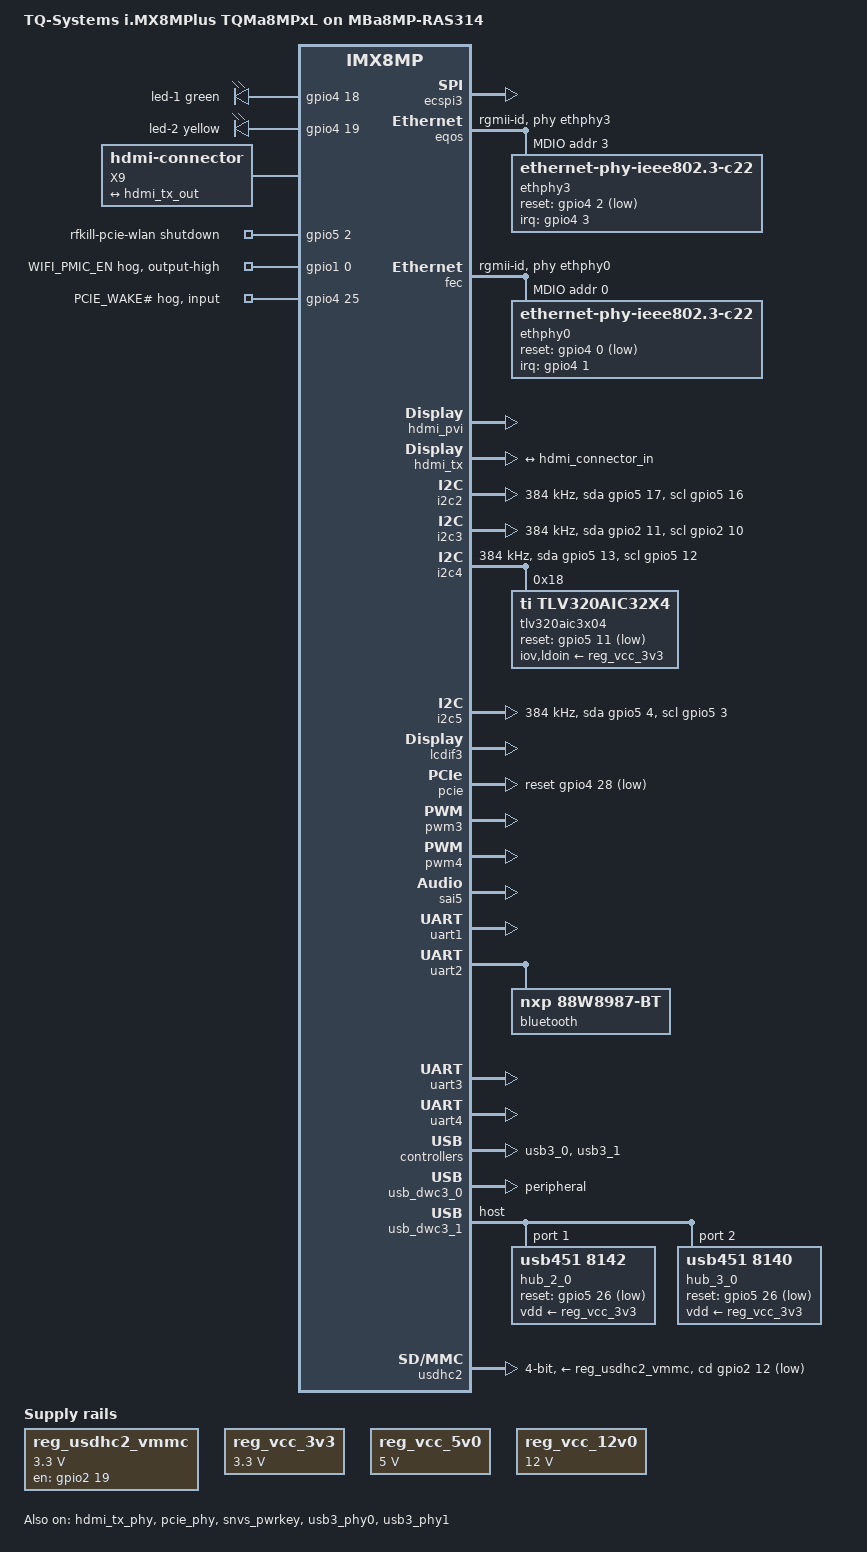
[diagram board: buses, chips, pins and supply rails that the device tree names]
// SPDX-License-Identifier: GPL-2.0-or-later OR MIT
/*
 * Copyright (c) 2023-2024 TQ-Systems GmbH <linux@ew.tq-group.com>,
 * D-82229 Seefeld, Germany.
 * Author: Martin Schmiedel
 * Author: Alexander Stein
 */

/dts-v1/;

#include <dt-bindings/leds/common.h>
#include <dt-bindings/net/ti-dp83867.h>
#include <dt-bindings/phy/phy-imx8-pcie.h>
#include <dt-bindings/pwm/pwm.h>
#include "imx8mp-tqma8mpql.dtsi"

/ {
	model = "TQ-Systems i.MX8MPlus TQMa8MPxL on MBa8MP-RAS314";
	compatible = "tq,imx8mp-tqma8mpql-mba8mp-ras314", "tq,imx8mp-tqma8mpql", "fsl,imx8mp";
	chassis-type = "embedded";

	chosen {
		stdout-path = &uart4;
	};

	aliases {
		mmc0 = &usdhc3;
		mmc1 = &usdhc2;
		mmc2 = &usdhc1;
		rtc0 = &pcf85063;
		rtc1 = &snvs_rtc;
	};

	/* X8 */
	backlight_lvds: backlight {
		compatible = "pwm-backlight";
		pinctrl-names = "default";
		pinctrl-0 = <&pinctrl_backlight>;
		pwms = <&pwm2 0 5000000 0>;
		brightness-levels = <0 4 8 16 32 64 128 255>;
		default-brightness-level = <7>;
		power-supply = <&reg_vcc_12v0>;
		enable-gpios = <&gpio1 3 GPIO_ACTIVE_HIGH>;
		status = "disabled";
	};

	/* X7 + X8 */
	display: display {
		/*
		 * Display is not fixed, so compatible has to be added from
		 * DT overlay
		 */
		pinctrl-names = "default";
		pinctrl-0 = <&pinctrl_lvdsdisplay>;
		power-supply = <&reg_vcc_3v3>;
		enable-gpios = <&gpio1 7 GPIO_ACTIVE_HIGH>;
		backlight = <&backlight_lvds>;
		status = "disabled";
	};

	gpio-leds {
		compatible = "gpio-leds";
		pinctrl-names = "default";
		pinctrl-0 = <&pinctrl_gpioled>;

		led-1 {
			color = <LED_COLOR_ID_GREEN>;
			function = LED_FUNCTION_STATUS;
			function-enumerator = <0>;
			gpios = <&gpio4 18 GPIO_ACTIVE_HIGH>;
		};

		led-2 {
			color = <LED_COLOR_ID_YELLOW>;
			function = LED_FUNCTION_STATUS;
			function-enumerator = <1>;
			gpios = <&gpio4 19 GPIO_ACTIVE_HIGH>;
		};
	};

	hdmi-connector {
		compatible = "hdmi-connector";
		label = "X9";
		type = "a";

		port {
			hdmi_connector_in: endpoint {
				remote-endpoint = <&hdmi_tx_out>;
			};
		};
	};

	reg_usdhc2_vmmc: regulator-usdhc2 {
		compatible = "regulator-fixed";
		pinctrl-names = "default";
		pinctrl-0 = <&pinctrl_reg_usdhc2_vmmc>;
		regulator-name = "VSD_3V3";
		regulator-min-microvolt = <3300000>;
		regulator-max-microvolt = <3300000>;
		gpio = <&gpio2 19 GPIO_ACTIVE_HIGH>;
		enable-active-high;
		startup-delay-us = <100>;
		off-on-delay-us = <12000>;
	};

	reg_vcc_3v3: regulator-3v3 {
		compatible = "regulator-fixed";
		regulator-name = "V_3V3";
		regulator-min-microvolt = <3300000>;
		regulator-max-microvolt = <3300000>;
	};

	reg_vcc_5v0: regulator-5v0 {
		compatible = "regulator-fixed";
		regulator-name = "V_5V0";
		regulator-min-microvolt = <5000000>;
		regulator-max-microvolt = <5000000>;
	};

	reg_vcc_12v0: regulator-12v0 {
		compatible = "regulator-fixed";
		regulator-name = "V_12V";
		regulator-min-microvolt = <12000000>;
		regulator-max-microvolt = <12000000>;
	};

	reserved-memory {
		#address-cells = <2>;
		#size-cells = <2>;
		ranges;

		/* global autoconfigured region for contiguous allocations */
		linux,cma {
			compatible = "shared-dma-pool";
			reusable;
			size = <0 0x38000000>;
			alloc-ranges = <0 0x40000000 0 0xB0000000>;
			linux,cma-default;
		};
	};

	rfkill {
		compatible = "rfkill-gpio";
		pinctrl-names = "default";
		pinctrl-0 = <&pinctrl_rfkill>;
		label = "rfkill-pcie-wlan";
		radio-type = "wlan";
		shutdown-gpios = <&gpio5 2 GPIO_ACTIVE_HIGH>;
	};

	sound {
		compatible = "fsl,imx-audio-tlv320aic32x4";
		model = "tq-mba8mp-ras314";
		audio-cpu = <&sai5>;
		audio-codec = <&tlv320aic3x04>;
		audio-routing =
			"IN3_L", "Mic Jack",
			"Mic Jack", "Mic Bias",
			"Headphone Jack", "HPL",
			"Headphone Jack", "HPR";
	};
};

&ecspi3 {
	pinctrl-names = "default";
	pinctrl-0 = <&pinctrl_ecspi3>;
	cs-gpios = <&gpio5 25 GPIO_ACTIVE_LOW>, <&gpio1 6 GPIO_ACTIVE_LOW>;
	status = "okay";
};

&eqos {
	pinctrl-names = "default";
	pinctrl-0 = <&pinctrl_eqos>;
	phy-mode = "rgmii-id";
	phy-handle = <&ethphy3>;
	status = "okay";

	mdio {
		compatible = "snps,dwmac-mdio";
		#address-cells = <1>;
		#size-cells = <0>;

		ethphy3: ethernet-phy@3 {
			compatible = "ethernet-phy-ieee802.3-c22";
			reg = <3>;
			pinctrl-names = "default";
			pinctrl-0 = <&pinctrl_eqos_phy>;
			reset-gpios = <&gpio4 2 GPIO_ACTIVE_LOW>;
			reset-assert-us = <500000>;
			reset-deassert-us = <50000>;
			enet-phy-lane-no-swap;
			interrupt-parent = <&gpio4>;
			interrupts = <3 IRQ_TYPE_EDGE_FALLING>;
			ti,rx-internal-delay = <DP83867_RGMIIDCTL_2_25_NS>;
			ti,tx-internal-delay = <DP83867_RGMIIDCTL_2_25_NS>;
			ti,fifo-depth = <DP83867_PHYCR_FIFO_DEPTH_4_B_NIB>;
			ti,dp83867-rxctrl-strap-quirk;
			ti,clk-output-sel = <DP83867_CLK_O_SEL_OFF>;
		};
	};
};

&fec {
	pinctrl-names = "default";
	pinctrl-0 = <&pinctrl_fec>;
	phy-mode = "rgmii-id";
	phy-handle = <&ethphy0>;
	fsl,magic-packet;
	status = "okay";

	mdio {
		#address-cells = <1>;
		#size-cells = <0>;

		ethphy0: ethernet-phy@0 {
			compatible = "ethernet-phy-ieee802.3-c22";
			reg = <0>;
			pinctrl-names = "default";
			pinctrl-0 = <&pinctrl_fec_phy>;
			reset-gpios = <&gpio4 0 GPIO_ACTIVE_LOW>;
			reset-assert-us = <500000>;
			reset-deassert-us = <50000>;
			enet-phy-lane-no-swap;
			interrupt-parent = <&gpio4>;
			interrupts = <1 IRQ_TYPE_EDGE_FALLING>;
			ti,rx-internal-delay = <DP83867_RGMIIDCTL_2_25_NS>;
			ti,tx-internal-delay = <DP83867_RGMIIDCTL_2_25_NS>;
			ti,fifo-depth = <DP83867_PHYCR_FIFO_DEPTH_4_B_NIB>;
			ti,dp83867-rxctrl-strap-quirk;
			ti,clk-output-sel = <DP83867_CLK_O_SEL_OFF>;
		};
	};
};

&gpio1 {
	pinctrl-names = "default";
	pinctrl-0 = <&pinctrl_gpio1>;

	gpio-line-names = "WIFI_PMIC_EN", "LVDS_RESET#", "", "",
			  "", "", "GPIO8", "",
			  "", "", "", "",
			  "", "", "GPIO12", "GPIO13",
			  "", "", "", "",
			  "", "", "", "",
			  "", "", "", "",
			  "", "", "", "";

	wifi-pmic-en-hog {
		gpio-hog;
		gpios = <0 0>;
		output-high;
		line-name = "WIFI_PMIC_EN";
	};
};

&gpio2 {
	pinctrl-names = "default";
	pinctrl-0 = <&pinctrl_gpio2>;

	gpio-line-names = "GPIO22", "GPIO23", "GPIO24", "GPIO25",
			  "GPIO26", "GPIO27", "CAM_GPIO1", "CAM_GPIO2",
			  "", "", "GPIO1", "GPIO0",
			  "", "", "", "",
			  "", "", "", "",
			  "", "", "", "",
			  "", "", "", "",
			  "", "", "", "";
};

&gpio3 {
	pinctrl-names = "default";
	pinctrl-0 = <&pinctrl_gpio3>;

	gpio-line-names = "", "", "", "",
			  "", "", "", "",
			  "", "", "", "",
			  "", "", "", "",
			  "", "", "", "",
			  "TEMP_EVENT#", "", "", "",
			  "", "", "", "",
			  "", "", "", "";
};

&gpio4 {
	pinctrl-names = "default";
	pinctrl-0 = <&pinctrl_gpio4>;

	gpio-line-names = "", "", "", "",
			  "", "", "", "",
			  "", "", "", "",
			  "", "", "", "",
			  "", "", "", "",
			  "HDMI_OC#", "GPIO14", "GPIO15", "GPIO16",
			  "GPIO17", "PCIE_WAKE#", "GPIO19", "GPIO20",
			  "PCIE_PERST#", "", "", "";

	pewake-hog {
		gpio-hog;
		gpios = <25 0>;
		input;
		line-name = "PCIE_WAKE#";
	};
};

&gpio5 {
	pinctrl-names = "default";
	pinctrl-0 = <&pinctrl_gpio5>, <&pinctrl_gpt1_gpio>,
		    <&pinctrl_gpt2_gpio>, <&pinctrl_gpt3_gpio>;

	gpio-line-names = "", "GPIO18", "", "GPIO3",
			  "GPIO2", "GPIO21", "", "",
			  "", "", "", "",
			  "", "", "", "",
			  "", "", "GPIO5", "GPIO6",
			  "", "", "GPIO11", "GPIO10",
			  "GPIO9", "GPIO7", "", "GPIO4",
			  "", "", "", "";
};

&gpt1 {
	pinctrl-names = "default";
	pinctrl-0 = <&pinctrl_gpt1>;
	status = "disabled";
};

&gpt2 {
	pinctrl-names = "default";
	pinctrl-0 = <&pinctrl_gpt2>;
	status = "disabled";
};

&gpt3 {
	pinctrl-names = "default";
	pinctrl-0 = <&pinctrl_gpt3>;
	status = "disabled";
};

&hdmi_pvi {
	status = "okay";
};

&hdmi_tx {
	pinctrl-names = "default";
	pinctrl-0 = <&pinctrl_hdmi>;
	status = "okay";

	ports {
		port@1 {
			hdmi_tx_out: endpoint {
				remote-endpoint = <&hdmi_connector_in>;
			};
		};
	};
};

&hdmi_tx_phy {
	status = "okay";
};

/* X5 + X6 Camera & Display interface */
&i2c2 {
	clock-frequency = <384000>;
	pinctrl-names = "default", "gpio";
	pinctrl-0 = <&pinctrl_i2c2>;
	pinctrl-1 = <&pinctrl_i2c2_gpio>;
	scl-gpios = <&gpio5 16 (GPIO_ACTIVE_HIGH | GPIO_OPEN_DRAIN)>;
	sda-gpios = <&gpio5 17 (GPIO_ACTIVE_HIGH | GPIO_OPEN_DRAIN)>;
	status = "okay";
};

/* X1 ID_I2C */
&i2c3 {
	clock-frequency = <384000>;
	pinctrl-names = "default", "gpio";
	pinctrl-0 = <&pinctrl_i2c3>;
	pinctrl-1 = <&pinctrl_i2c3_gpio>;
	scl-gpios = <&gpio2 10 (GPIO_ACTIVE_HIGH | GPIO_OPEN_DRAIN)>;
	sda-gpios = <&gpio2 11 (GPIO_ACTIVE_HIGH | GPIO_OPEN_DRAIN)>;
	status = "okay";
};

&i2c4 {
	clock-frequency = <384000>;
	pinctrl-names = "default", "gpio";
	pinctrl-0 = <&pinctrl_i2c4>;
	pinctrl-1 = <&pinctrl_i2c4_gpio>;
	scl-gpios = <&gpio5 12 (GPIO_ACTIVE_HIGH | GPIO_OPEN_DRAIN)>;
	sda-gpios = <&gpio5 13 (GPIO_ACTIVE_HIGH | GPIO_OPEN_DRAIN)>;
	status = "okay";

	tlv320aic3x04: audio-codec@18 {
		compatible = "ti,tlv320aic32x4";
		pinctrl-names = "default";
		pinctrl-0 = <&pinctrl_tlv320aic3x04>;
		reg = <0x18>;
		clock-names = "mclk";
		clocks = <&audio_blk_ctrl IMX8MP_CLK_AUDIOMIX_SAI5_MCLK1>;
		reset-gpios = <&gpio5 11 GPIO_ACTIVE_LOW>;
		iov-supply = <&reg_vcc_3v3>;
		ldoin-supply = <&reg_vcc_3v3>;
	};
};

/* X1 I2C */
&i2c5 {
	clock-frequency = <384000>;
	pinctrl-names = "default", "gpio";
	pinctrl-0 = <&pinctrl_i2c5>;
	pinctrl-1 = <&pinctrl_i2c5_gpio>;
	scl-gpios = <&gpio5 3 (GPIO_ACTIVE_HIGH | GPIO_OPEN_DRAIN)>;
	sda-gpios = <&gpio5 4 (GPIO_ACTIVE_HIGH | GPIO_OPEN_DRAIN)>;
	status = "okay";
};

/* X1 I2C on GPIO24/GPIO25 */
&i2c6 {
	clock-frequency = <384000>;
	pinctrl-names = "default", "gpio";
	pinctrl-0 = <&pinctrl_i2c6>;
	pinctrl-1 = <&pinctrl_i2c6_gpio>;
	scl-gpios = <&gpio2 2 (GPIO_ACTIVE_HIGH | GPIO_OPEN_DRAIN)>;
	sda-gpios = <&gpio2 3 (GPIO_ACTIVE_HIGH | GPIO_OPEN_DRAIN)>;
	status = "disabled";
};

&lcdif3 {
	status = "okay";
};

&pcf85063 {
	/* RTC_EVENT# is connected on MBa8MP-RAS314 */
	pinctrl-names = "default";
	pinctrl-0 = <&pinctrl_pcf85063>;
	interrupt-parent = <&gpio3>;
	interrupts = <19 IRQ_TYPE_EDGE_FALLING>;
};

&pcie_phy {
	clocks = <&hsio_blk_ctrl>;
	clock-names = "ref";
	fsl,refclk-pad-mode = <IMX8_PCIE_REFCLK_PAD_OUTPUT>;
	status = "okay";
};

&pcie {
	pinctrl-names = "default";
	pinctrl-0 = <&pinctrl_pcie>;
	reset-gpios = <&gpio4 28 GPIO_ACTIVE_LOW>;
	status = "okay";
};

&pwm2 {
	pinctrl-names = "default";
	pinctrl-0 = <&pinctrl_pwm2>;
	status = "disabled";
};

&pwm3 {
	pinctrl-names = "default";
	pinctrl-0 = <&pinctrl_pwm3>;
	status = "okay";
};

&pwm4 {
	pinctrl-names = "default";
	pinctrl-0 = <&pinctrl_pwm4>;
	status = "okay";
};

&sai5 {
	pinctrl-names = "default";
	pinctrl-0 = <&pinctrl_sai5>;
	assigned-clocks = <&clk IMX8MP_CLK_SAI5>;
	assigned-clock-parents = <&clk IMX8MP_AUDIO_PLL1_OUT>;
	assigned-clock-rates = <12288000>;
	fsl,sai-mclk-direction-output;
	status = "okay";
};

&snvs_pwrkey {
	status = "okay";
};

/* X1 UART1 */
&uart1 {
	pinctrl-names = "default";
	pinctrl-0 = <&pinctrl_uart1>;
	uart-has-rtscts;
	assigned-clocks = <&clk IMX8MP_CLK_UART1>;
	assigned-clock-parents = <&clk IMX8MP_SYS_PLL1_80M>;
	status = "okay";
};

&uart2 {
	pinctrl-names = "default";
	pinctrl-0 = <&pinctrl_uart2>;
	uart-has-rtscts;
	assigned-clocks = <&clk IMX8MP_CLK_UART2>;
	assigned-clock-parents = <&clk IMX8MP_SYS_PLL1_80M>;
	status = "okay";

	bluetooth {
		compatible = "nxp,88w8987-bt";
	};
};

&uart3 {
	pinctrl-names = "default";
	pinctrl-0 = <&pinctrl_uart3>;
	assigned-clocks = <&clk IMX8MP_CLK_UART3>;
	assigned-clock-parents = <&clk IMX8MP_SYS_PLL1_80M>;
	status = "okay";
};

&uart4 {
	/* console */
	pinctrl-names = "default";
	pinctrl-0 = <&pinctrl_uart4>;
	status = "okay";
};

&usb3_0 {
	fsl,disable-port-power-control;
	status = "okay";
};

&usb3_1 {
	fsl,disable-port-power-control;
	fsl,permanently-attached;
	status = "okay";
};

&usb3_phy0 {
	vbus-supply = <&reg_vcc_5v0>;
	status = "okay";
};

&usb3_phy1 {
	vbus-supply = <&reg_vcc_5v0>;
	status = "okay";
};

&usb_dwc3_0 {
	dr_mode = "peripheral";
	status = "okay";
};

&usb_dwc3_1 {
	dr_mode = "host";
	#address-cells = <1>;
	#size-cells = <0>;
	pinctrl-names = "default";
	pinctrl-0 = <&pinctrl_usbhub>;
	status = "okay";

	hub_2_0: hub@1 {
		compatible = "usb451,8142";
		reg = <1>;
		peer-hub = <&hub_3_0>;
		reset-gpios = <&gpio5 26 GPIO_ACTIVE_LOW>;
		vdd-supply = <&reg_vcc_3v3>;
	};

	hub_3_0: hub@2 {
		compatible = "usb451,8140";
		reg = <2>;
		peer-hub = <&hub_2_0>;
		reset-gpios = <&gpio5 26 GPIO_ACTIVE_LOW>;
		vdd-supply = <&reg_vcc_3v3>;
	};
};

/* X1 SD card on GPIO22-GPIO27 */
&usdhc1 {
	pinctrl-names = "default";
	pinctrl-0 = <&pinctrl_usdhc1>;
	disable-wp;
	bus-width = <4>;
	status = "disabled";
};

&usdhc2 {
	pinctrl-names = "default", "state_100mhz", "state_200mhz";
	pinctrl-0 = <&pinctrl_usdhc2>, <&pinctrl_usdhc2_gpio>;
	pinctrl-1 = <&pinctrl_usdhc2_100mhz>, <&pinctrl_usdhc2_gpio>;
	pinctrl-2 = <&pinctrl_usdhc2_200mhz>, <&pinctrl_usdhc2_gpio>;
	cd-gpios = <&gpio2 12 GPIO_ACTIVE_LOW>;
	vmmc-supply = <&reg_usdhc2_vmmc>;
	no-mmc;
	no-sdio;
	disable-wp;
	bus-width = <4>;
	status = "okay";
};

&iomuxc {
	pinctrl_backlight: backlightgrp {
		fsl,pins = <MX8MP_IOMUXC_GPIO1_IO03__GPIO1_IO03		0x14>;
	};

	pinctrl_ecspi3: ecspi3grp {
		fsl,pins = <MX8MP_IOMUXC_UART1_RXD__ECSPI3_SCLK		0x140>,
			   <MX8MP_IOMUXC_UART1_TXD__ECSPI3_MOSI		0x140>,
			   <MX8MP_IOMUXC_UART2_RXD__ECSPI3_MISO		0x1c0>,
			   <MX8MP_IOMUXC_UART2_TXD__GPIO5_IO25		0x140>,
			   <MX8MP_IOMUXC_GPIO1_IO06__GPIO1_IO06		0x140>;
	};

	pinctrl_ecspi3_gpio: ecspi3gpiogrp {
		fsl,pins = <MX8MP_IOMUXC_UART1_RXD__GPIO5_IO22		0x80>,
			   <MX8MP_IOMUXC_UART1_TXD__GPIO5_IO23		0x80>,
			   <MX8MP_IOMUXC_UART2_RXD__GPIO5_IO24		0x80>,
			   <MX8MP_IOMUXC_UART2_TXD__GPIO5_IO25		0x80>,
			   <MX8MP_IOMUXC_GPIO1_IO06__GPIO1_IO06		0x80>;
	};

	pinctrl_eqos: eqosgrp {
		fsl,pins = <MX8MP_IOMUXC_ENET_MDC__ENET_QOS_MDC				0x40000044>,
			   <MX8MP_IOMUXC_ENET_MDIO__ENET_QOS_MDIO			0x40000044>,
			   <MX8MP_IOMUXC_ENET_RD0__ENET_QOS_RGMII_RD0			0x90>,
			   <MX8MP_IOMUXC_ENET_RD1__ENET_QOS_RGMII_RD1			0x90>,
			   <MX8MP_IOMUXC_ENET_RD2__ENET_QOS_RGMII_RD2			0x90>,
			   <MX8MP_IOMUXC_ENET_RD3__ENET_QOS_RGMII_RD3			0x90>,
			   <MX8MP_IOMUXC_ENET_RXC__CCM_ENET_QOS_CLOCK_GENERATE_RX_CLK	0x90>,
			   <MX8MP_IOMUXC_ENET_RX_CTL__ENET_QOS_RGMII_RX_CTL		0x90>,
			   <MX8MP_IOMUXC_ENET_TD0__ENET_QOS_RGMII_TD0			0x12>,
			   <MX8MP_IOMUXC_ENET_TD1__ENET_QOS_RGMII_TD1			0x12>,
			   <MX8MP_IOMUXC_ENET_TD2__ENET_QOS_RGMII_TD2			0x12>,
			   <MX8MP_IOMUXC_ENET_TD3__ENET_QOS_RGMII_TD3			0x12>,
			   <MX8MP_IOMUXC_ENET_TX_CTL__ENET_QOS_RGMII_TX_CTL		0x12>,
			   <MX8MP_IOMUXC_ENET_TXC__CCM_ENET_QOS_CLOCK_GENERATE_TX_CLK	0x14>;
	};

	pinctrl_eqos_phy: eqosphygrp {
		fsl,pins = <MX8MP_IOMUXC_SAI1_RXD0__GPIO4_IO02				0x100>,
			   <MX8MP_IOMUXC_SAI1_RXD1__GPIO4_IO03				0x1c0>;
	};

	pinctrl_fec: fecgrp {
		fsl,pins = <MX8MP_IOMUXC_SAI1_RXD2__ENET1_MDC		0x40000044>,
			   <MX8MP_IOMUXC_SAI1_RXD3__ENET1_MDIO		0x40000044>,
			   <MX8MP_IOMUXC_SAI1_RXD4__ENET1_RGMII_RD0	0x90>,
			   <MX8MP_IOMUXC_SAI1_RXD5__ENET1_RGMII_RD1	0x90>,
			   <MX8MP_IOMUXC_SAI1_RXD6__ENET1_RGMII_RD2	0x90>,
			   <MX8MP_IOMUXC_SAI1_RXD7__ENET1_RGMII_RD3	0x90>,
			   <MX8MP_IOMUXC_SAI1_TXC__ENET1_RGMII_RXC	0x90>,
			   <MX8MP_IOMUXC_SAI1_TXFS__ENET1_RGMII_RX_CTL	0x90>,
			   <MX8MP_IOMUXC_SAI1_TXD0__ENET1_RGMII_TD0	0x12>,
			   <MX8MP_IOMUXC_SAI1_TXD1__ENET1_RGMII_TD1	0x12>,
			   <MX8MP_IOMUXC_SAI1_TXD2__ENET1_RGMII_TD2	0x12>,
			   <MX8MP_IOMUXC_SAI1_TXD3__ENET1_RGMII_TD3	0x12>,
			   <MX8MP_IOMUXC_SAI1_TXD4__ENET1_RGMII_TX_CTL	0x12>,
			   <MX8MP_IOMUXC_SAI1_TXD5__ENET1_RGMII_TXC	0x14>;
	};

	pinctrl_fec_phy: fecphygrp {
		fsl,pins = <MX8MP_IOMUXC_SAI1_RXFS__GPIO4_IO00		0x100>,
			   <MX8MP_IOMUXC_SAI1_RXC__GPIO4_IO01		0x1c0>;
	};

	pinctrl_gpioled: gpioledgrp {
		fsl,pins = <MX8MP_IOMUXC_SAI1_TXD6__GPIO4_IO18		0x14>,
			   <MX8MP_IOMUXC_SAI1_TXD7__GPIO4_IO19		0x14>;
	};

	pinctrl_gpio1: gpio1grp {
		fsl,pins = <MX8MP_IOMUXC_GPIO1_IO00__GPIO1_IO00		0x14>,
			   <MX8MP_IOMUXC_GPIO1_IO01__GPIO1_IO01		0x14>;
	};

	pinctrl_gpio2: gpio2grp {
		fsl,pins = <MX8MP_IOMUXC_SD1_CLK__GPIO2_IO00		0x94>,
			   <MX8MP_IOMUXC_SD1_CMD__GPIO2_IO01		0x94>,
			   <MX8MP_IOMUXC_SD1_DATA0__GPIO2_IO02		0x94>,
			   <MX8MP_IOMUXC_SD1_DATA1__GPIO2_IO03		0x94>,
			   <MX8MP_IOMUXC_SD1_DATA2__GPIO2_IO04		0x94>,
			   <MX8MP_IOMUXC_SD1_DATA3__GPIO2_IO05		0x94>,
			   <MX8MP_IOMUXC_SD1_DATA4__GPIO2_IO06		0x94>,
			   <MX8MP_IOMUXC_SD1_DATA5__GPIO2_IO07		0x94>;
	};

	pinctrl_gpio3: gpio3grp {
		fsl,pins = <MX8MP_IOMUXC_SAI5_RXC__GPIO3_IO20		0x180>;
	};

	pinctrl_gpio4: gpio4grp {
		fsl,pins = <MX8MP_IOMUXC_SAI1_MCLK__GPIO4_IO20		0x80>,
			   /* PCIE_WAKE# */
			   <MX8MP_IOMUXC_SAI2_TXC__GPIO4_IO25		0x180>,
			   <MX8MP_IOMUXC_SAI2_TXD0__GPIO4_IO26		0x94>,
			   <MX8MP_IOMUXC_SAI2_MCLK__GPIO4_IO27		0x94>;
	};

	pinctrl_gpio5: gpio5grp {
		fsl,pins = <MX8MP_IOMUXC_SAI3_TXD__GPIO5_IO01		0x80>,
			   <MX8MP_IOMUXC_SPDIF_EXT_CLK__GPIO5_IO05	0x80>;
	};

	pinctrl_hdmi: hdmigrp {
		fsl,pins = <MX8MP_IOMUXC_HDMI_DDC_SCL__HDMIMIX_HDMI_SCL	0x400001c2>,
			   <MX8MP_IOMUXC_HDMI_DDC_SDA__HDMIMIX_HDMI_SDA	0x400001c2>,
			   <MX8MP_IOMUXC_HDMI_HPD__HDMIMIX_HDMI_HPD	0x40000010>,
			   <MX8MP_IOMUXC_HDMI_CEC__HDMIMIX_HDMI_CEC	0x40000154>;
	};

	pinctrl_gpt1: gpt1grp {
		fsl,pins = <MX8MP_IOMUXC_UART3_TXD__GPT1_CLK		0x14>;
	};

	pinctrl_gpt1_gpio: gpt1gpiogrp {
		fsl,pins = <MX8MP_IOMUXC_UART3_TXD__GPIO5_IO27		0x80>;
	};

	pinctrl_gpt2: gpt2grp {
		fsl,pins = <MX8MP_IOMUXC_I2C3_SCL__GPT2_CLK		0x14>;
	};

	pinctrl_gpt2_gpio: gpt2gpiogrp {
		fsl,pins = <MX8MP_IOMUXC_I2C3_SCL__GPIO5_IO18		0x80>;
	};

	pinctrl_gpt3: gpt3grp {
		fsl,pins = <MX8MP_IOMUXC_I2C3_SDA__GPT3_CLK		0x14>;
	};

	pinctrl_gpt3_gpio: gpt3gpiogrp {
		fsl,pins = <MX8MP_IOMUXC_I2C3_SDA__GPIO5_IO19		0x80>;
	};

	pinctrl_i2c2: i2c2grp {
		fsl,pins = <MX8MP_IOMUXC_I2C2_SCL__I2C2_SCL		0x400001e2>,
			   <MX8MP_IOMUXC_I2C2_SDA__I2C2_SDA		0x400001e2>;
	};

	pinctrl_i2c2_gpio: i2c2-gpiogrp {
		fsl,pins = <MX8MP_IOMUXC_I2C2_SCL__GPIO5_IO16		0x400001e2>,
			   <MX8MP_IOMUXC_I2C2_SDA__GPIO5_IO17		0x400001e2>;
	};

	pinctrl_i2c3: i2c3grp {
		fsl,pins = <MX8MP_IOMUXC_SD1_RESET_B__I2C3_SCL		0x400001e2>,
			   <MX8MP_IOMUXC_SD1_STROBE__I2C3_SDA		0x400001e2>;
	};

	pinctrl_i2c3_gpio: i2c3-gpiogrp {
		fsl,pins = <MX8MP_IOMUXC_SD1_RESET_B__GPIO2_IO10	0x400001e2>,
			   <MX8MP_IOMUXC_SD1_STROBE__GPIO2_IO11		0x400001e2>;
	};

	pinctrl_i2c4: i2c4grp {
		fsl,pins = <MX8MP_IOMUXC_ECSPI2_MISO__I2C4_SCL		0x400001e2>,
			   <MX8MP_IOMUXC_ECSPI2_SS0__I2C4_SDA		0x400001e2>;
	};

	pinctrl_i2c4_gpio: i2c4-gpiogrp {
		fsl,pins = <MX8MP_IOMUXC_ECSPI2_MISO__GPIO5_IO12	0x400001e2>,
			   <MX8MP_IOMUXC_ECSPI2_SS0__GPIO5_IO13		0x400001e2>;
	};

	pinctrl_i2c5: i2c5grp {
		fsl,pins = <MX8MP_IOMUXC_SPDIF_TX__I2C5_SCL		0x400001e2>,
			   <MX8MP_IOMUXC_SPDIF_RX__I2C5_SDA		0x400001e2>;
	};

	pinctrl_i2c5_gpio: i2c5-gpiogrp {
		fsl,pins = <MX8MP_IOMUXC_SPDIF_TX__GPIO5_IO03		0x400001e2>,
			   <MX8MP_IOMUXC_SPDIF_RX__GPIO5_IO04		0x400001e2>;
	};

	pinctrl_i2c6: i2c6grp {
		fsl,pins = <MX8MP_IOMUXC_SD1_DATA0__I2C6_SCL		0x400001e2>,
			   <MX8MP_IOMUXC_SD1_DATA1__I2C6_SDA		0x400001e2>;
	};

	pinctrl_i2c6_gpio: i2c6-gpiogrp {
		fsl,pins = <MX8MP_IOMUXC_SD1_DATA0__GPIO2_IO02		0x400001e2>,
			   <MX8MP_IOMUXC_SD1_DATA1__GPIO2_IO03		0x400001e2>;
	};

	pinctrl_pcf85063: pcf85063grp {
		fsl,pins = <MX8MP_IOMUXC_SAI5_RXFS__GPIO3_IO19		0x80>;
	};

	pinctrl_pcie: pciegrp {
		fsl,pins = <MX8MP_IOMUXC_I2C4_SCL__PCIE_CLKREQ_B	0x60>,
			   <MX8MP_IOMUXC_SAI3_RXFS__GPIO4_IO28		0x94>;
	};

	pinctrl_lvdsdisplay: lvdsdisplaygrp {
		fsl,pins = <MX8MP_IOMUXC_GPIO1_IO07__GPIO1_IO07		0x10>;
	};

	pinctrl_pwm2: pwm2grp {
		fsl,pins = <MX8MP_IOMUXC_GPIO1_IO09__PWM2_OUT		0x14>;
	};

	pinctrl_pwm3: pwm3grp {
		fsl,pins = <MX8MP_IOMUXC_GPIO1_IO14__PWM3_OUT		0x14>;
	};

	pinctrl_pwm3_gpio: pwm3grpiogrp {
		fsl,pins = <MX8MP_IOMUXC_GPIO1_IO14__GPIO1_IO14		0x80>;
	};

	pinctrl_pwm4: pwm4grp {
		fsl,pins = <MX8MP_IOMUXC_GPIO1_IO15__PWM4_OUT		0x14>;
	};

	pinctrl_pwm4_gpio: pwm4grpiogrp {
		fsl,pins = <MX8MP_IOMUXC_GPIO1_IO15__GPIO1_IO15		0x80>;
	};

	pinctrl_rfkill: rfkillgrp {
		fsl,pins = <MX8MP_IOMUXC_SAI3_MCLK__GPIO5_IO02		0x14>;
	};

	pinctrl_sai5: sai5grp {
		fsl,pins = <MX8MP_IOMUXC_SAI5_MCLK__AUDIOMIX_SAI5_MCLK		0x94>,
			   <MX8MP_IOMUXC_SAI5_RXD0__AUDIOMIX_SAI5_RX_DATA00	0x94>,
			   <MX8MP_IOMUXC_SAI5_RXD3__AUDIOMIX_SAI5_TX_DATA00	0x94>,
			   <MX8MP_IOMUXC_SAI5_RXD1__AUDIOMIX_SAI5_TX_SYNC	0x94>,
			   <MX8MP_IOMUXC_SAI5_RXD2__AUDIOMIX_SAI5_TX_BCLK	0x94>;
	};

	pinctrl_tlv320aic3x04: tlv320aic3x04grp {
		fsl,pins = <MX8MP_IOMUXC_ECSPI2_MOSI__GPIO5_IO11		0x180>;
	};

	pinctrl_uart1: uart1grp {
		fsl,pins = <MX8MP_IOMUXC_SAI2_RXFS__UART1_DCE_TX	0x14>,
			   <MX8MP_IOMUXC_SAI2_RXC__UART1_DCE_RX		0x14>,
			   <MX8MP_IOMUXC_SAI2_RXD0__UART1_DTE_CTS	0x14>,
			   <MX8MP_IOMUXC_SAI2_TXFS__UART1_DTE_RTS	0x14>;
	};

	pinctrl_uart1_gpio: uart1gpiogrp {
		fsl,pins = <MX8MP_IOMUXC_SAI2_RXFS__GPIO4_IO21		0x80>,
			   <MX8MP_IOMUXC_SAI2_RXC__GPIO4_IO22		0x80>,
			   <MX8MP_IOMUXC_SAI2_RXD0__GPIO4_IO23		0x80>,
			   <MX8MP_IOMUXC_SAI2_TXFS__GPIO4_IO24		0x80>;
	};

	pinctrl_uart2: uart2grp {
		fsl,pins = <MX8MP_IOMUXC_SAI3_TXC__UART2_DCE_TX		0x14>,
			   <MX8MP_IOMUXC_SAI3_TXFS__UART2_DCE_RX	0x14>,
			   <MX8MP_IOMUXC_SAI3_RXD__UART2_DCE_RTS	0x14>,
			   <MX8MP_IOMUXC_SAI3_RXC__UART2_DCE_CTS	0x14>;
	};

	pinctrl_uart3: uart3grp {
		fsl,pins = <MX8MP_IOMUXC_SD1_DATA6__UART3_DCE_TX	0x140>,
			   <MX8MP_IOMUXC_SD1_DATA7__UART3_DCE_RX	0x140>;
	};

	pinctrl_uart4: uart4grp {
		fsl,pins = <MX8MP_IOMUXC_UART4_TXD__UART4_DCE_TX	0x140>,
			   <MX8MP_IOMUXC_UART4_RXD__UART4_DCE_RX	0x140>;
	};

	pinctrl_usbhub: usbhubgrp {
		fsl,pins = <MX8MP_IOMUXC_UART3_RXD__GPIO5_IO26		0x10>;
	};

	pinctrl_usdhc1: usdhc1grp {
		fsl,pins = <MX8MP_IOMUXC_SD1_CLK__USDHC1_CLK		0x192>,
			   <MX8MP_IOMUXC_SD1_CMD__USDHC1_CMD		0x1d2>,
			   <MX8MP_IOMUXC_SD1_DATA0__USDHC1_DATA0	0x1d2>,
			   <MX8MP_IOMUXC_SD1_DATA1__USDHC1_DATA1	0x1d2>,
			   <MX8MP_IOMUXC_SD1_DATA2__USDHC1_DATA2	0x1d2>,
			   <MX8MP_IOMUXC_SD1_DATA3__USDHC1_DATA3	0x1d2>;
	};

	pinctrl_usdhc2: usdhc2grp {
		fsl,pins = <MX8MP_IOMUXC_SD2_CLK__USDHC2_CLK		0x192>,
			   <MX8MP_IOMUXC_SD2_CMD__USDHC2_CMD		0x1d2>,
			   <MX8MP_IOMUXC_SD2_DATA0__USDHC2_DATA0	0x1d2>,
			   <MX8MP_IOMUXC_SD2_DATA1__USDHC2_DATA1	0x1d2>,
			   <MX8MP_IOMUXC_SD2_DATA2__USDHC2_DATA2	0x1d2>,
			   <MX8MP_IOMUXC_SD2_DATA3__USDHC2_DATA3	0x1d2>,
			   <MX8MP_IOMUXC_GPIO1_IO04__USDHC2_VSELECT	0xc0>;
	};

	pinctrl_usdhc2_100mhz: usdhc2-100mhzgrp {
		fsl,pins = <MX8MP_IOMUXC_SD2_CLK__USDHC2_CLK		0x194>,
			   <MX8MP_IOMUXC_SD2_CMD__USDHC2_CMD		0x1d4>,
			   <MX8MP_IOMUXC_SD2_DATA0__USDHC2_DATA0	0x1d4>,
			   <MX8MP_IOMUXC_SD2_DATA1__USDHC2_DATA1	0x1d4>,
			   <MX8MP_IOMUXC_SD2_DATA2__USDHC2_DATA2	0x1d4>,
			   <MX8MP_IOMUXC_SD2_DATA3__USDHC2_DATA3	0x1d4>,
			   <MX8MP_IOMUXC_GPIO1_IO04__USDHC2_VSELECT	0xc0>;
	};

	pinctrl_usdhc2_200mhz: usdhc2-200mhzgrp {
		fsl,pins = <MX8MP_IOMUXC_SD2_CLK__USDHC2_CLK		0x194>,
			   <MX8MP_IOMUXC_SD2_CMD__USDHC2_CMD		0x1d4>,
			   <MX8MP_IOMUXC_SD2_DATA0__USDHC2_DATA0	0x1d4>,
			   <MX8MP_IOMUXC_SD2_DATA1__USDHC2_DATA1	0x1d4>,
			   <MX8MP_IOMUXC_SD2_DATA2__USDHC2_DATA2	0x1d4>,
			   <MX8MP_IOMUXC_SD2_DATA3__USDHC2_DATA3	0x1d4>,
			   <MX8MP_IOMUXC_GPIO1_IO04__USDHC2_VSELECT	0xc0>;
	};

	pinctrl_usdhc2_gpio: usdhc2-gpiogrp {
		fsl,pins = <MX8MP_IOMUXC_SD2_CD_B__GPIO2_IO12		0x1c0>;
	};
};
